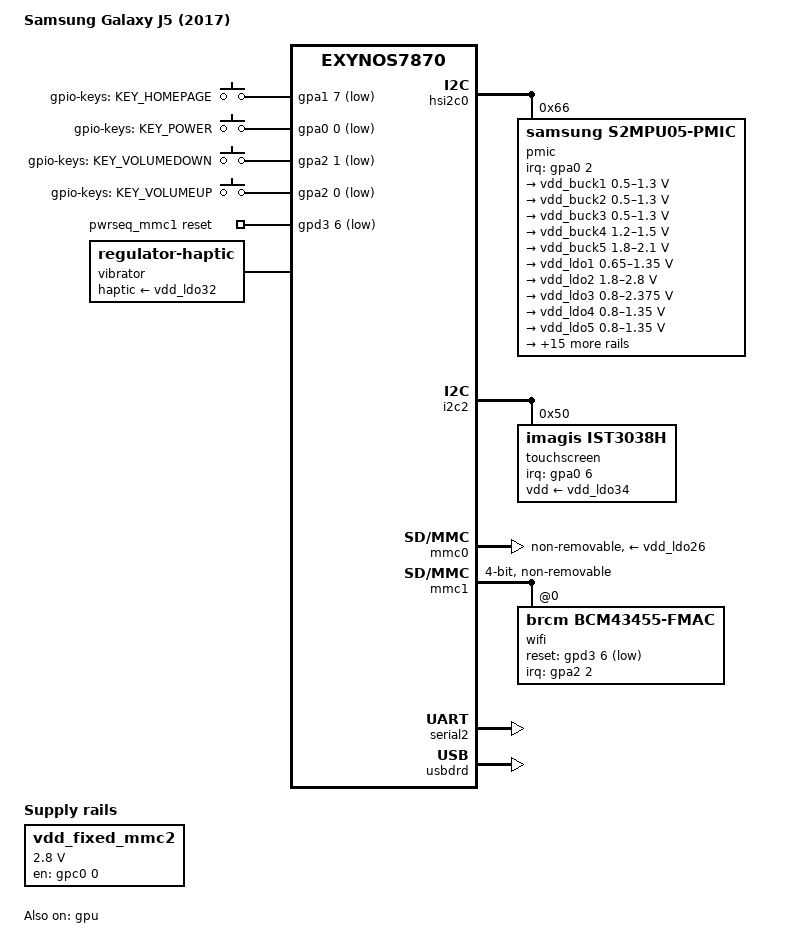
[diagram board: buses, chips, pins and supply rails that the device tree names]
// SPDX-License-Identifier: GPL-2.0
/*
 * Samsung Galaxy J5 (2017) (j5y17lte) device tree source
 *
 * Copyright (c) 2024 Andras Sebok <sebokandris2009@gmail.com>
 */

/dts-v1/;
#include "exynos7870.dtsi"
#include <dt-bindings/gpio/gpio.h>
#include <dt-bindings/input/input.h>
#include <dt-bindings/interrupt-controller/irq.h>

/ {
	model = "Samsung Galaxy J5 (2017)";
	compatible = "samsung,j5y17lte", "samsung,exynos7870";
	chassis-type = "handset";

	aliases {
		mmc0 = &mmc0;
		mmc1 = &mmc1;
		mmc2 = &mmc2;
		serial0 = &serial0;
		serial1 = &serial1;
		serial2 = &serial2;
	};

	chosen {
		#address-cells = <2>;
		#size-cells = <1>;
		ranges;

		stdout-path = &serial2;

		framebuffer@67000000 {
			compatible = "simple-framebuffer";
			reg = <0x0 0x67000000 (720 * 1280 * 4)>;
			width = <720>;
			height = <1280>;
			stride = <(720 * 4)>;
			format = "a8r8g8b8";
		};
	};

	gpio-keys {
		compatible = "gpio-keys";
		pinctrl-names = "default";
		pinctrl-0 = <&key_power &key_voldown &key_volup>;

		key-home {
			interrupt-parent = <&gpa1>;
			linux,code = <KEY_HOMEPAGE>;
			label = "gpio-keys: KEY_HOMEPAGE";
			gpios = <&gpa1 7 GPIO_ACTIVE_LOW>;
		};

		key-power {
			interrupt-parent = <&gpa0>;
			linux,code = <KEY_POWER>;
			label = "gpio-keys: KEY_POWER";
			gpios = <&gpa0 0 GPIO_ACTIVE_LOW>;
		};

		key-voldown {
			interrupt-parent = <&gpa2>;
			linux,code = <KEY_VOLUMEDOWN>;
			label = "gpio-keys: KEY_VOLUMEDOWN";
			gpios = <&gpa2 1 GPIO_ACTIVE_LOW>;
		};

		key-volup {
			interrupt-parent = <&gpa2>;
			linux,code = <KEY_VOLUMEUP>;
			label = "gpio-keys: KEY_VOLUMEUP";
			gpios = <&gpa2 0 GPIO_ACTIVE_LOW>;
		};
	};

	memory@40000000 {
		device_type = "memory";
		reg = <0x0 0x40000000 0x3e400000>,
		      <0x0 0x80000000 0x40000000>;
	};

	pwrseq_mmc1: pwrseq-mmc1 {
		compatible = "mmc-pwrseq-simple";
		reset-gpios = <&gpd3 6 GPIO_ACTIVE_LOW>;
	};

	vdd_fixed_mmc2: regulator-fixed-mmc2 {
		compatible = "regulator-fixed";
		regulator-name = "vdd_fixed_mmc2";
		regulator-max-microvolt = <2800000>;
		regulator-min-microvolt = <2800000>;

		gpio = <&gpc0 0 GPIO_ACTIVE_HIGH>;
		enable-active-high;
	};

	reserved-memory {
		#address-cells = <2>;
		#size-cells = <1>;
		ranges;

		ramoops@46e00000 {
			compatible = "ramoops";
			reg = <0x0 0x46e00000 0x8000>;
			console-size = <0x4000>;
			pmsg-size = <0x4000>;
		};

		framebuffer@67000000 {
			reg = <0x0 0x67000000 (720 * 1280 * 4)>;
			no-map;
		};
	};

	vibrator {
		compatible = "regulator-haptic";
		haptic-supply = <&vdd_ldo32>;
		min-microvolt = <3300000>;
		max-microvolt = <3300000>;
	};
};

&gpu {
	status = "okay";
};

&hsi2c0 {
	status = "okay";
	#address-cells = <1>;
	#size-cells = <0>;

	pmic@66 {
		compatible = "samsung,s2mpu05-pmic";
		reg = <0x66>;

		interrupt-parent = <&gpa0>;
		interrupts = <2 IRQ_TYPE_LEVEL_LOW>;

		pinctrl-names = "default";
		pinctrl-0 = <&pmic_irq>;

		regulators {
			vdd_buck1: buck1 {
				regulator-name = "vdd_buck1";
				regulator-min-microvolt = <500000>;
				regulator-max-microvolt = <1300000>;
				regulator-ramp-delay = <12000>;
				regulator-boot-on;
				regulator-always-on;
			};

			vdd_buck2: buck2 {
				regulator-name = "vdd_buck2";
				regulator-min-microvolt = <500000>;
				regulator-max-microvolt = <1300000>;
				regulator-ramp-delay = <12000>;
				regulator-boot-on;
				regulator-always-on;
			};

			vdd_buck3: buck3 {
				regulator-name = "vdd_buck3";
				regulator-min-microvolt = <500000>;
				regulator-max-microvolt = <1300000>;
				regulator-ramp-delay = <12000>;
				regulator-boot-on;
				regulator-always-on;
			};

			vdd_buck4: buck4 {
				regulator-name = "vdd_buck4";
				regulator-min-microvolt = <1200000>;
				regulator-max-microvolt = <1500000>;
				regulator-ramp-delay = <12000>;
				regulator-boot-on;
				regulator-always-on;
			};

			vdd_buck5: buck5 {
				regulator-name = "vdd_buck5";
				regulator-min-microvolt = <1800000>;
				regulator-max-microvolt = <2100000>;
				regulator-ramp-delay = <12000>;
				regulator-boot-on;
				regulator-always-on;
			};

			vdd_ldo1: ldo1 {
				regulator-name = "vdd_ldo1";
				regulator-min-microvolt = <650000>;
				regulator-max-microvolt = <1350000>;
				regulator-ramp-delay = <12000>;
				regulator-boot-on;
				regulator-always-on;
			};

			vdd_ldo2: ldo2 {
				regulator-name = "vdd_ldo2";
				regulator-min-microvolt = <1800000>;
				regulator-max-microvolt = <2800000>;
				regulator-ramp-delay = <12000>;
			};

			vdd_ldo3: ldo3 {
				regulator-name = "vdd_ldo3";
				regulator-min-microvolt = <800000>;
				regulator-max-microvolt = <2375000>;
				regulator-ramp-delay = <12000>;
				regulator-boot-on;
				regulator-always-on;
			};

			vdd_ldo4: ldo4 {
				regulator-name = "vdd_ldo4";
				regulator-min-microvolt = <800000>;
				regulator-max-microvolt = <1350000>;
				regulator-ramp-delay = <12000>;
				regulator-boot-on;
				regulator-always-on;
			};

			vdd_ldo5: ldo5 {
				regulator-name = "vdd_ldo5";
				regulator-min-microvolt = <800000>;
				regulator-max-microvolt = <1350000>;
				regulator-ramp-delay = <12000>;
				regulator-boot-on;
				regulator-always-on;
			};

			vdd_ldo6: ldo6 {
				regulator-name = "vdd_ldo6";
				regulator-min-microvolt = <800000>;
				regulator-max-microvolt = <1350000>;
				regulator-ramp-delay = <12000>;
				regulator-boot-on;
				regulator-always-on;
			};

			vdd_ldo7: ldo7 {
				regulator-name = "vdd_ldo7";
				regulator-min-microvolt = <800000>;
				regulator-max-microvolt = <2375000>;
				regulator-ramp-delay = <12000>;
				regulator-boot-on;
				regulator-always-on;
			};

			vdd_ldo8: ldo8 {
				regulator-name = "vdd_ldo8";
				regulator-min-microvolt = <1800000>;
				regulator-max-microvolt = <3375000>;
				regulator-ramp-delay = <12000>;
			};

			vdd_ldo9: ldo9 {
				regulator-name = "vdd_ldo9";
				regulator-min-microvolt = <650000>;
				regulator-max-microvolt = <1350000>;
				regulator-ramp-delay = <12000>;
				regulator-boot-on;
				regulator-always-on;
			};

			vdd_ldo10: ldo10 {
				regulator-name = "vdd_ldo10";
				regulator-min-microvolt = <650000>;
				regulator-max-microvolt = <1350000>;
				regulator-ramp-delay = <12000>;
				regulator-boot-on;
				regulator-always-on;
			};

			vdd_ldo25: ldo25 {
				regulator-name = "vdd_ldo25";
				regulator-min-microvolt = <800000>;
				regulator-max-microvolt = <2375000>;
				regulator-ramp-delay = <12000>;
				regulator-boot-on;
				regulator-always-on;
			};

			vdd_ldo26: ldo26 {
				regulator-name = "vdd_ldo26";
				regulator-min-microvolt = <1800000>;
				regulator-max-microvolt = <3375000>;
				regulator-ramp-delay = <12000>;
				regulator-boot-on;
				regulator-always-on;
			};

			vdd_ldo27: ldo27 {
				regulator-name = "vdd_ldo27";
				regulator-min-microvolt = <800000>;
				regulator-max-microvolt = <2375000>;
				regulator-ramp-delay = <12000>;
				regulator-boot-on;
				regulator-always-on;
			};

			vdd_ldo29: ldo29 {
				regulator-name = "vdd_ldo29";
				regulator-min-microvolt = <3000000>;
				regulator-max-microvolt = <3000000>;
				regulator-boot-on;
				regulator-always-on;
			};

			vdd_ldo30: ldo30 {
				regulator-name = "vdd_ldo30";
				regulator-min-microvolt = <1800000>;
				regulator-max-microvolt = <1800000>;
				regulator-boot-on;
				regulator-always-on;
			};

			vdd_ldo31: ldo31 {
				regulator-name = "vdd_ldo31";
				regulator-min-microvolt = <2800000>;
				regulator-max-microvolt = <2800000>;
				regulator-ramp-delay = <12000>;
				regulator-boot-on;
				regulator-always-on;
			};

			vdd_ldo32: ldo32 {
				regulator-name = "vdd_ldo32";
				regulator-min-microvolt = <3300000>;
				regulator-max-microvolt = <3300000>;
				regulator-ramp-delay = <12000>;
			};

			vdd_ldo33: ldo33 {
				regulator-name = "vdd_ldo33";
				regulator-min-microvolt = <3300000>;
				regulator-max-microvolt = <3300000>;
				regulator-ramp-delay = <12000>;
			};

			vdd_ldo34: ldo34 {
				regulator-name = "vdd_ldo34";
				regulator-min-microvolt = <3300000>;
				regulator-max-microvolt = <3300000>;
			};

			vdd_ldo35: ldo35 {
				regulator-name = "vdd_ldo35";
				regulator-min-microvolt = <3300000>;
				regulator-max-microvolt = <3300000>;
				regulator-boot-on;
				regulator-always-on;
			};
		};
	};
};

&i2c2 {
	#address-cells = <1>;
	#size-cells = <0>;

	samsung,i2c-sda-delay = <100>;
	samsung,i2c-max-bus-freq = <400000>;

	status = "okay";

	touchscreen@50 {
		compatible = "imagis,ist3038h";
		reg = <0x50>;

		interrupt-parent = <&gpa0>;
		interrupts = <6 IRQ_TYPE_EDGE_FALLING>;

		pinctrl-names = "default";
		pinctrl-0 = <&touch_irq>;

		touchscreen-size-x = <720>;
		touchscreen-size-y = <1280>;

		vdd-supply = <&vdd_ldo34>;
	};
};

&mmc0 {
	pinctrl-names = "default";
	pinctrl-0 = <&sd0_clk &sd0_cmd &sd0_rdqs &sd0_bus1 &sd0_bus4 &sd0_bus8>;

	vmmc-supply = <&vdd_ldo26>;
	vqmmc-supply = <&vdd_ldo27>;

	fifo-depth = <64>;
	samsung,dw-mshc-ciu-div = <3>;
	samsung,dw-mshc-sdr-timing = <0 4>;
	samsung,dw-mshc-ddr-timing = <2 4>;
	non-removable;

	status = "okay";
};

&mmc1 {
	#address-cells = <1>;
	#size-cells = <0>;

	pinctrl-names = "default";
	pinctrl-0 = <&sd1_clk &sd1_cmd &sd1_bus1 &sd1_bus4>;

	mmc-pwrseq = <&pwrseq_mmc1>;

	bus-width = <4>;
	fifo-depth = <64>;
	samsung,dw-mshc-ciu-div = <3>;
	samsung,dw-mshc-sdr-timing = <0 3>;
	samsung,dw-mshc-ddr-timing = <1 2>;
	non-removable;
	cap-sd-highspeed;
	cap-sdio-irq;

	status = "okay";

	wifi@0 {
		compatible = "brcm,bcm43455-fmac", "brcm,bcm4329-fmac";
		reg = <0x0>;

		interrupt-names = "host-wake";
		interrupt-parent = <&gpa2>;
		interrupts = <2 IRQ_TYPE_LEVEL_LOW>;

		reset-gpios = <&gpd3 6 GPIO_ACTIVE_LOW>;
	};
};

&oscclk {
	clock-frequency = <26000000>;
};

&pinctrl_alive {
	accel_irq: accel-irq-pins {
		samsung,pins = "gpa2-3";
		samsung,pin-function = <EXYNOS_PIN_FUNC_EINT>;
		samsung,pin-pud = <EXYNOS_PIN_PULL_NONE>;
		samsung,pin-drv = <EXYNOS5433_PIN_DRV_FAST_SR1>;
	};

	dwmmc2_irq: dwmmc2-irq-pins {
		samsung,pins = "gpa0-1";
		samsung,pin-function = <EXYNOS_PIN_FUNC_EINT>;
		samsung,pin-pud = <EXYNOS_PIN_PULL_NONE>;
		samsung,pin-drv = <EXYNOS5433_PIN_DRV_FAST_SR1>;
	};

	fuel_irq: fuel-irq-pins {
		samsung,pins = "gpa0-3";
		samsung,pin-function = <EXYNOS_PIN_FUNC_INPUT>;
		samsung,pin-pud = <EXYNOS_PIN_PULL_NONE>;
		samsung,pin-drv = <EXYNOS5433_PIN_DRV_FAST_SR1>;
	};

	hall_irq: hall-irq-pins {
		samsung,pins = "gpa1-3";
		samsung,pin-function = <EXYNOS_PIN_FUNC_EINT>;
		samsung,pin-pud = <EXYNOS_PIN_PULL_NONE>;
		samsung,pin-drv = <EXYNOS5433_PIN_DRV_FAST_SR1>;
	};

	key_power: key-power-pins {
		samsung,pins = "gpa0-0";
		samsung,pin-function = <EXYNOS_PIN_FUNC_EINT>;
		samsung,pin-pud = <EXYNOS_PIN_PULL_NONE>;
		samsung,pin-drv = <EXYNOS5433_PIN_DRV_FAST_SR1>;
	};

	key_voldown: key-voldown-pins {
		samsung,pins = "gpa2-1";
		samsung,pin-function = <EXYNOS_PIN_FUNC_EINT>;
		samsung,pin-pud = <EXYNOS_PIN_PULL_NONE>;
		samsung,pin-drv = <EXYNOS5433_PIN_DRV_FAST_SR1>;
	};

	key_volup: key-volup-pins {
		samsung,pins = "gpa2-0";
		samsung,pin-function = <EXYNOS_PIN_FUNC_EINT>;
		samsung,pin-pud = <EXYNOS_PIN_PULL_NONE>;
		samsung,pin-drv = <EXYNOS5433_PIN_DRV_FAST_SR1>;
	};

	pmic_irq: pmic-irq-pins {
		samsung,pins = "gpa0-2";
		samsung,pin-pud = <EXYNOS_PIN_PULL_UP>;
		samsung,pin-drv = <EXYNOS5433_PIN_DRV_FAST_SR4>;
	};

	touch_irq: touch-irq-pins {
		samsung,pins = "gpa0-6";
		samsung,pin-function = <EXYNOS_PIN_FUNC_EINT>;
		samsung,pin-pud = <EXYNOS_PIN_PULL_NONE>;
		samsung,pin-drv = <EXYNOS5433_PIN_DRV_FAST_SR1>;
	};

	wlan_hostwake: wlan-hostwake-pins {
		samsung,pins = "gpa2-2";
		samsung,pin-function = <EXYNOS_PIN_FUNC_OUTPUT>;
		samsung,pin-pud = <EXYNOS_PIN_PULL_UP>;
	};
};

&pinctrl_top {
	wlan_enable: wlan-enable-pins {
		samsung,pins = "gpd3-6";
		samsung,pin-function = <EXYNOS_PIN_FUNC_OUTPUT>;
		samsung,pin-con-pdn = <EXYNOS_PIN_PDN_PREV>;
		samsung,pin-pud-pdn = <EXYNOS_PIN_PULL_NONE>;
		samsung,pin-pud = <EXYNOS_PIN_PULL_NONE>;
		samsung,pin-drv = <EXYNOS5433_PIN_DRV_FAST_SR4>;
		samsung,pin-val = <0>;
	};
};

&serial2 {
	status = "okay";
};

&usbdrd {
	vdd33-supply = <&vdd_ldo8>;

	status = "okay";
};
